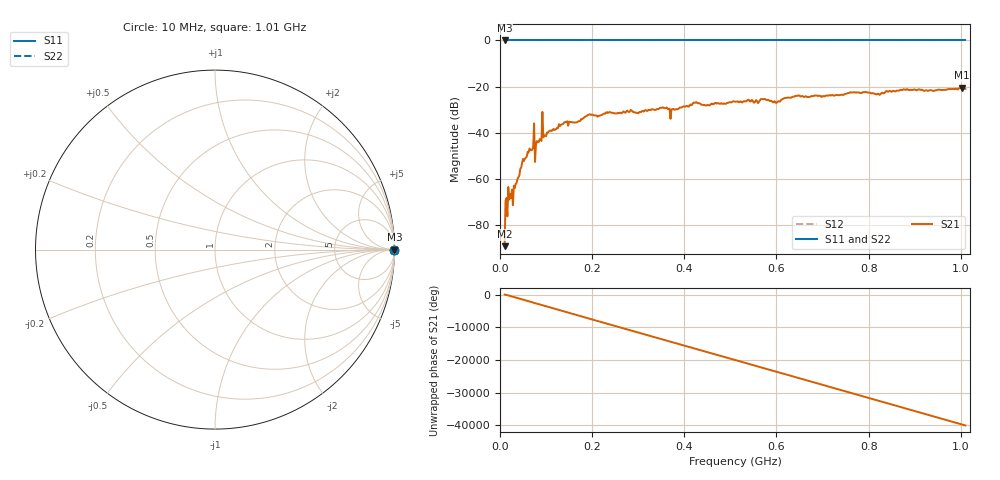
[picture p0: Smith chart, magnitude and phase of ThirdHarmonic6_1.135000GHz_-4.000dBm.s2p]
! 8/16/2025 11:04:51 AM
! C:\ANRITSUVNA\TEMP\TEMP.S2P
! CHANNEL.1
! TR.MEASUREMENT
! RAW.DATA
! RF.CORRECTION.OFF
! AVERAGING.OFF
! IF.BANDWIDTH: 5KHZ
! SWEEPTYPE:  FREQ.SWEEP(Linear)
! Reference Plane Port Info
! PORT:  PORT1  PORT2
! DISTANCE:  0  m  0  m
! TIME:  0  s  0  s
! PHASE.OFFSET:  0  deg.  0  deg.
! LOSS:  0  dB  0  dB
! REF.LOSS:  0  dB  0  dB
! REF.FREQ:  0  Hz  0  Hz
! Power Info
! POWER:  -20  dBm  -20  dBm
! EFF.POWER:  -20  dBm  -20  dBm
! SOURCE.ATTEN:  0  dB  0  dB
! TEST.ATTEN:  0  dB  0  dB
# GHZ S RI R 50.0
! FREQ.GHZ  S11RE  S11IM  S21RE  S21IM  S12RE  S12IM  S22RE  S22IM
!; PortSelection: Port_12
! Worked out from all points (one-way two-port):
!   501 points, 10 MHz to 1.01 GHz, reference 50 ohm
!   highest |S21| = -20.50 dB at 1.002 GHz (marker M1); lowest = -89.3 dB at 10 MHz (marker M2)
!   lowest |S11| = 0.0 dB at 10 MHz (marker M3)
!   |S11| at or under -10 dB: nowhere
!   |S22| runs from 0.0 to 0.0 dB; largest |S21 - S12| = 1.1
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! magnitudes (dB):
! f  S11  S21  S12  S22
! 10 MHz  0.0  -89.3  0.0  0.0
! 16 MHz  0.0  -76.4  0.0  0.0
! 28 MHz  0.0  -71.5  0.0  0.0
! 48 MHz  0.0  -53.1  0.0  0.0
! 70 MHz  0.0  -47.4  0.0  0.0
! 78 MHz  0.0  -45.4  0.0  0.0
! 80 MHz  0.0  -43.7  0.0  0.0
! 88 MHz  0.0  -42.8  0.0  0.0
! 96 MHz  0.0  -41.2  0.0  0.0
! 98 MHz  0.0  -41.4  0.0  0.0
! 142 MHz  0.0  -35.5  0.0  0.0
! 178 MHz  0.0  -34.2  0.0  0.0
! 194 MHz  0.0  -32.1  0.0  0.0
! 344 MHz  0.0  -29.8  0.0  0.0
! 374 MHz  0.0  -29.9  0.0  0.0
! 424 MHz  0.0  -27.1  0.0  0.0
! 510 MHz  0.0  -26.6  0.0  0.0
! 596 MHz  0.0  -26.4  0.0  0.0
! 678 MHz  0.0  -24.2  0.0  0.0
! 844 MHz  0.0  -22.1  0.0  0.0
! 1.002 GHz  0.0  -20.5  0.0  0.0
! 1.01 GHz  0.0  -21.0  0.0  0.0
